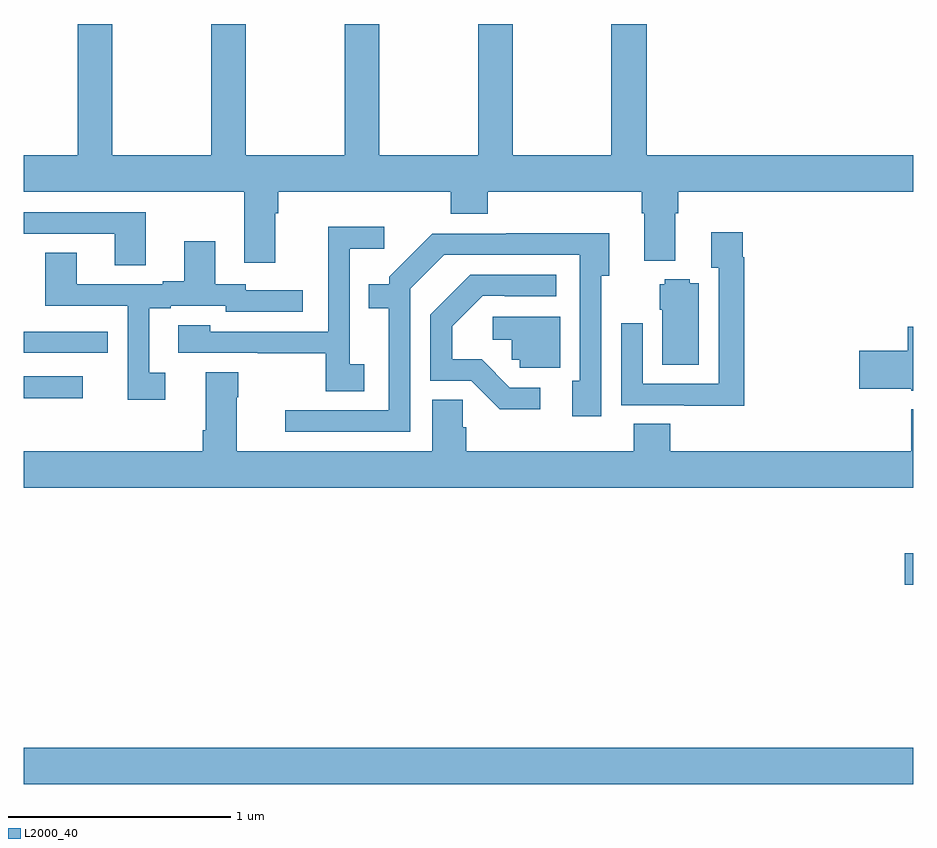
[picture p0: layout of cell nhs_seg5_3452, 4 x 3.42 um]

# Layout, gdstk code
import gdstk
lib = gdstk.Library(unit=1e-6, precision=1e-09)
def R(c, l, rs):  # rectangles x0, y0, x1, y1
    for r in rs: c.add(gdstk.rectangle(r[:2], r[2:], *l))
def P(c, l, *ps):  # polygons
    for p in ps: c.add(gdstk.Polygon(p, *l))
L2000_40 = (2000, 40)

nhs_seg5_3452 = lib.new_cell('nhs_seg5_3452')
R(nhs_seg5_3452, L2000_40, [(313,903.38,317,903.544), (316.962,904.277,317,904.419), (313,905.116,313.264,905.214)])
P(nhs_seg5_3452, L2000_40, [(314.131,905.948),(314.144,905.948),(314.144,906.044),(314.921,906.044),(314.921,905.945),(315.086,905.945),(315.086,906.044),(315.779,906.044),(315.779,905.948),(315.791,905.948),(315.791,905.735),(315.931,905.735),(315.931,905.948),(315.944,905.948),(315.944,906.044),(317,906.044),(317,906.208),(315.803,906.208),(315.803,906.799),(315.643,906.799),(315.643,906.208),(315.198,906.208),(315.198,906.799),(315.043,906.799),(315.043,906.208),(314.598,906.208),(314.598,906.799),(314.443,906.799),(314.443,906.208),(313.998,906.208),(313.998,906.799),(313.843,906.799),(313.843,906.208),(313.398,906.208),(313.398,906.799),(313.243,906.799),(313.243,906.208),(313,906.208),(313,906.044),(313.991,906.044),(313.991,905.724),(314.131,905.724)],
  [(313.549,905.952),(313,905.952),(313,905.856),(313.409,905.856),(313.409,905.713),(313.549,905.713)],
  [(314.53,905.268),(314.466,905.268),(314.466,905.789),(314.62,905.789),(314.62,905.887),(314.368,905.887),(314.368,905.648),(314.37,905.648),(314.37,905.415),(313.839,905.415),(313.839,905.443),(313.695,905.443),(313.695,905.319),(314.053,905.319),(314.053,905.317),(314.358,905.317),(314.358,905.146),(314.53,905.146)],
  [(316.241,905.75),(316.234,905.75),(316.234,905.863),(316.091,905.863),(316.091,905.702),(316.125,905.702),(316.125,905.181),(315.783,905.181),(315.783,905.452),(315.687,905.452),(315.687,905.085),(315.971,905.085),(315.971,905.081),(316.241,905.081)],
  [(314.739,905.607),(314.892,905.76),(315.501,905.76),(315.501,905.194),(315.467,905.194),(315.467,905.034),(315.597,905.034),(315.597,905.666),(315.634,905.666),(315.634,905.858),(315.169,905.858),(315.169,905.856),(314.838,905.856),(314.643,905.661),(314.643,905.629),(314.551,905.629),(314.551,905.52),(314.642,905.52),(314.642,905.061),(314.175,905.061),(314.175,904.965),(314.739,904.965)],
  [(313.636,905.229),(313.564,905.229),(313.564,905.52),(313.66,905.52),(313.66,905.532),(313.908,905.532),(313.908,905.505),(314.254,905.505),(314.254,905.601),(313.998,905.601),(313.998,905.628),(313.861,905.628),(313.861,905.821),(313.721,905.821),(313.721,905.641),(313.625,905.641),(313.625,905.628),(313.237,905.628),(313.237,905.771),(313.097,905.771),(313.097,905.532),(313.467,905.532),(313.467,905.109),(313.636,905.109)],
  [(315.322,905.163),(315.186,905.163),(315.059,905.29),(314.926,905.29),(314.926,905.44),(315.063,905.577),(315.163,905.577),(315.163,905.574),(315.394,905.574),(315.394,905.67),(315.008,905.67),(314.829,905.491),(314.829,905.193),(315.012,905.193),(315.14,905.066),(315.322,905.066)],
  [(316.036,905.632),(315.996,905.632),(315.996,905.65),(315.882,905.65),(315.882,905.628),(315.86,905.628),(315.86,905.514),(315.872,905.514),(315.872,905.266),(316.036,905.266)],
  [(315.412,905.481),(315.108,905.481),(315.108,905.378),(315.195,905.378),(315.195,905.289),(315.231,905.289),(315.231,905.253),(315.412,905.253)],
  [(317,905.437),(316.976,905.437),(316.976,905.33),(316.758,905.33),(316.758,905.159),(316.992,905.159),(316.992,905.15),(317,905.15)],
  [(313.378,905.414),(313.265,905.414),(313.265,905.415),(313,905.415),(313,905.319),(313.378,905.319)],
  [(317,905.065),(316.991,905.065),(316.991,904.876),(315.908,904.876),(315.908,905),(315.743,905),(315.743,904.876),(314.99,904.876),(314.99,904.986),(314.975,904.986),(314.975,905.108),(314.837,905.108),(314.837,904.876),(313.957,904.876),(313.957,905.12),(313.965,905.12),(313.965,905.233),(313.817,905.233),(313.817,904.972),(313.805,904.972),(313.805,904.876),(313,904.876),(313,904.712),(317,904.712)])

lib.write_gds('nhs_seg5_3452.gds')
